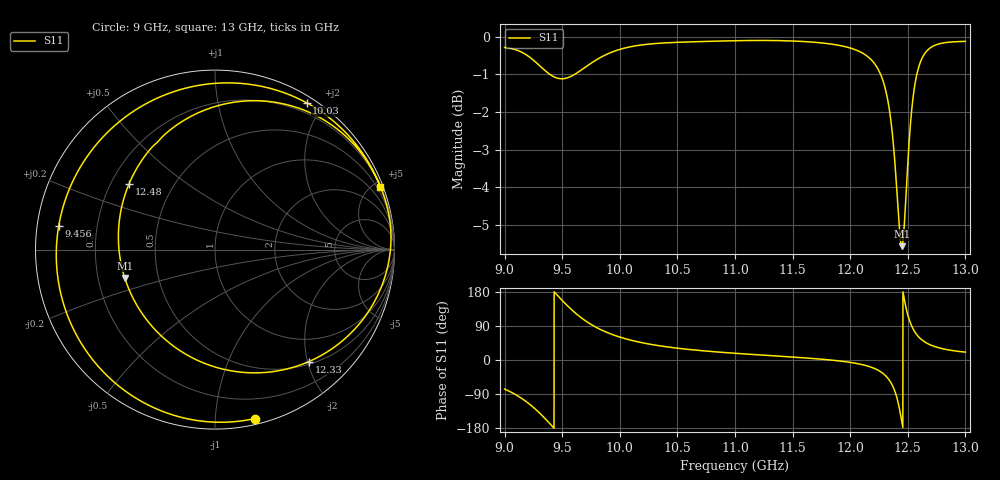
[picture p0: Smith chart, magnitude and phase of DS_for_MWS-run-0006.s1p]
! TOUCHSTONE file generated by CST DESIGN STUDIO
! Date and time: Tue Feb  4 16:25:43 2025
! Project name: C:\Work\MatlabApps\UnitCellOptimizationMatlab\CST\unitcell.cst
! Tree item: Tasks\Sweep1\SPara1\S-Parameters
! Header version: 2024
! Port assignment regex: !\s*Touchstone port\s*([0-9]+)\s*=\s*(CST MWS port|CST DES external port|CST DES block port)\s*(.+)\s* \(\"(.*)\"\)(\s*mode\s*([0-9]+))?.*
! Touchstone port assignment:
! Touchstone port 1 = CST DES external port 1 ("")
# GHz S MA R 50
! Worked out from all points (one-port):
!   4001 points, 9 GHz to 13 GHz, reference 50 ohm
!   lowest |S11| = -5.6 dB at 12.45 GHz (marker M1), VSWR 3.23, Z = 15.8 - j6.96 ohm
!   |S11| at or under -10 dB: nowhere
!   S11 on the Smith chart (normalised r, x): 9 GHz: 0.04, -1.26; 9.456 GHz: 0.06, +0.07; 10.03 GHz: 0.08, +1.80; 12.33 GHz: 0.55, -2.02; 12.48 GHz: 0.27, +0.31; 13 GHz: 0.23, +5.45
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9  0.9669 -76.8
9.132  0.9559 -98.1
9.234  0.9347 -120.9
9.357  0.8997 -156.3
9.456  0.8807 171.4
9.5  0.8789 157.2
9.6  0.8893 127.7
9.702  0.9109 103.4
9.848  0.9408 78.2
10  0.9615 60.5
10.026  0.964 58.1
10.5  0.9825 31.2
11  0.9873 17.7
11.5  0.9864 7.8
12  0.9656 -6.3
12.219  0.9171 -23.5
12.332  0.814 -50.1
12.399  0.6444 -92.8
12.423  0.5667 -121.8
12.448  0.5269 -162.5
12.481  0.6025 142.7
12.5  0.6774 118.6
12.525  0.7718 96.1
12.553  0.8464 78.1
12.6  0.9163 59.2
12.656  0.9533 46.0
12.781  0.9787 31.3
13  0.9854 20.8
